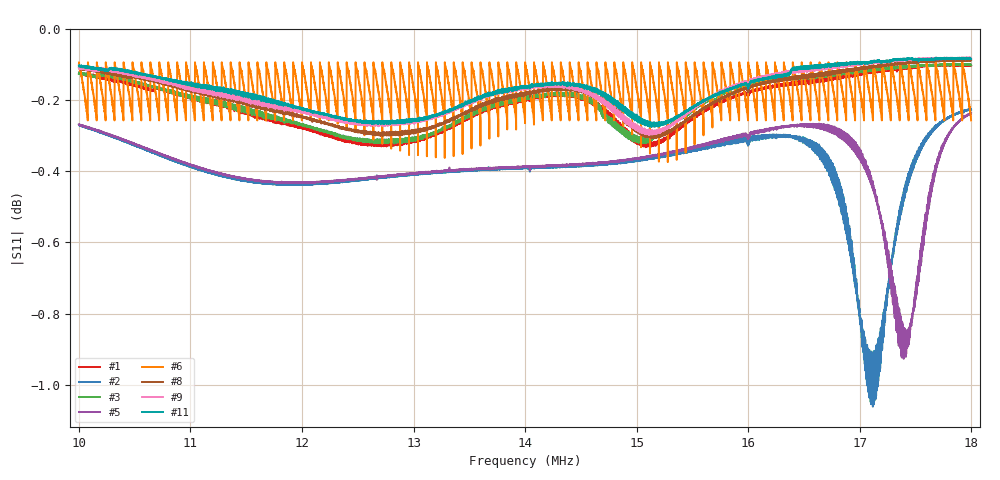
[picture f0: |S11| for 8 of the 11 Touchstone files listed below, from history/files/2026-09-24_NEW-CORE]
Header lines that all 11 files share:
! NanoVNA Web complex sweep
! Processing: unaveraged complex samples; linear segment spacing; no smoothing
# Hz S RI R 50
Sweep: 10 MHz to 18 MHz
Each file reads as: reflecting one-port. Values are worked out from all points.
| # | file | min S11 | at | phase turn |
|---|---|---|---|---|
| 1 | coreA-suspect-5turns-NO-AIT_nanovna-sweep-1790286683963.s1p | -0.3 dB | 15.08 MHz | -48 deg |
| 2 | coreA-suspect_debugging_cores_nanovna-sweep-1790284441346.s1p | -1.1 dB | 17.12 MHz | -336 deg |
| 3 | coreB-unknown-5turns-NO-AIT_nanovna-sweep-1790286994923.s1p | -0.3 dB | 12.83 MHz | -48 deg |
| 4 | coreC-good-4turns-NO-AIT_debugging_cores_nanovna-sweep-1790285281617.s1p | -0.3 dB | 15.22 MHz | -50 deg |
| 5 | coreC-good-4turns_debugging_cores_nanovna-sweep-1790285106605.s1p | -0.9 dB | 17.39 MHz | -336 deg |
| 6 | coreC-good-5turns-NO-AIT_nanovna-sweep-1790285780006.s1p | -0.4 dB | 15.28 MHz | -14 deg |
| 7 | coreC-good-5turns-NO-AIT_nanovna-sweep-1790286278376.s1p | -0.3 dB | 12.62 MHz | -48 deg |
| 8 | coreC-good-5turns_moredata_-NO-AIT_nanovna-sweep-1790286351694.s1p | -0.3 dB | 15.14 MHz | -48 deg |
| 9 | coreC-good-rep2-5turns-NO-AIT_nanovna-sweep-1790287600981.s1p | -0.3 dB | 15.11 MHz | -48 deg |
| 10 | coreC-good_debugging_cores_nanovna-sweep-1790284902777.s1p | -1.1 dB | 17.16 MHz | -336 deg |
| 11 | coreD-good-5turns-NO-AIT_nanovna-sweep-1790287385847.s1p | -0.3 dB | 15.12 MHz | -48 deg |
